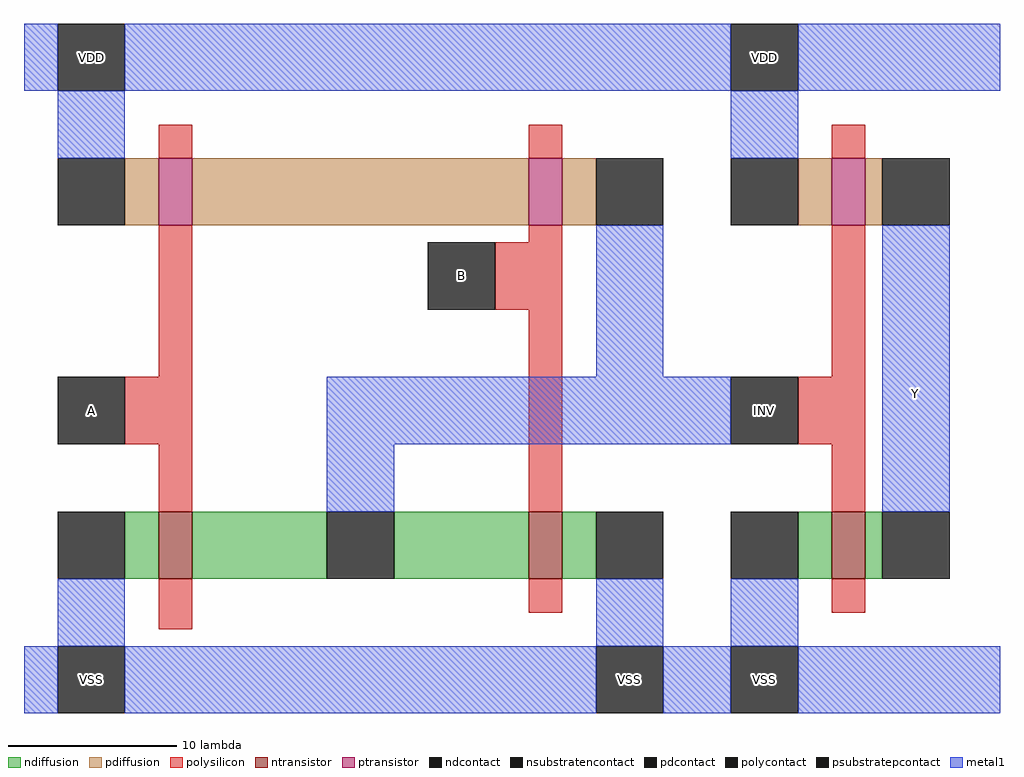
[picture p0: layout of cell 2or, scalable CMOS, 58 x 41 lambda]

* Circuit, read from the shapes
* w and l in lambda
.subckt 2or A B INV VDD VSS Y
M1 INV A VSS VSS nfet w=4 l=2
M2 VSS B INV VSS nfet w=4 l=2
M3 Y INV VSS VSS nfet w=4 l=2
M4 n1 A VDD VDD pfet w=4 l=2
M5 INV B n1 VDD pfet w=4 l=2
M6 Y INV VDD VDD pfet w=4 l=2
.ends

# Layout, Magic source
magic
tech scmos
<< ntransistor >>
rect 4 -1 6 3
rect 26 -1 28 3
rect 44 -1 46 3
<< ptransistor >>
rect 4 20 6 24
rect 26 20 28 24
rect 44 20 46 24
<< ndiffusion >>
rect 2 -1 4 3
rect 6 -1 14 3
rect 18 -1 26 3
rect 28 -1 30 3
rect 42 -1 44 3
rect 46 -1 47 3
<< pdiffusion >>
rect 2 20 4 24
rect 6 20 26 24
rect 28 20 30 24
rect 42 20 44 24
rect 46 20 47 24
<< ndcontact >>
rect -2 -1 2 3
rect 14 -1 18 3
rect 30 -1 34 3
rect 38 -1 42 3
rect 47 -1 51 3
<< pdcontact >>
rect -2 20 2 24
rect 30 20 34 24
rect 38 20 42 24
rect 47 20 51 24
<< psubstratepcontact >>
rect -2 -9 2 -5
rect 30 -9 34 -5
rect 38 -9 42 -5
<< nsubstratencontact >>
rect -2 28 2 32
rect 38 28 42 32
<< polysilicon >>
rect 4 24 6 26
rect 26 24 28 26
rect 44 24 46 26
rect 4 11 6 20
rect 26 19 28 20
rect 24 15 28 19
rect 2 7 6 11
rect 4 3 6 7
rect 26 3 28 15
rect 44 11 46 20
rect 42 7 46 11
rect 44 3 46 7
rect 4 -4 6 -1
rect 26 -3 28 -1
rect 44 -3 46 -1
<< polycontact >>
rect 20 15 24 19
rect -2 7 2 11
rect 38 7 42 11
<< metal1 >>
rect -4 28 -2 32
rect 2 28 38 32
rect 42 28 54 32
rect -2 24 2 28
rect 38 24 42 28
rect 30 11 34 20
rect 14 7 38 11
rect 14 3 18 7
rect 47 3 51 20
rect -2 -5 2 -1
rect 30 -5 34 -1
rect 38 -5 42 -1
rect -4 -9 -2 -5
rect 2 -9 30 -5
rect 34 -9 38 -5
rect 42 -9 54 -5
<< labels >>
rlabel polycontact 0 9 0 9 1 A
rlabel polycontact 40 9 40 9 1 INV
rlabel metal1 49 10 49 10 1 Y
rlabel psubstratepcontact 0 -7 0 -7 1 VSS
rlabel psubstratepcontact 32 -7 32 -7 1 VSS
rlabel psubstratepcontact 40 -7 40 -7 1 VSS
rlabel nsubstratencontact 0 30 0 30 1 VDD
rlabel nsubstratencontact 40 30 40 30 1 VDD
rlabel polycontact 22 17 22 17 1 B
<< end >>
